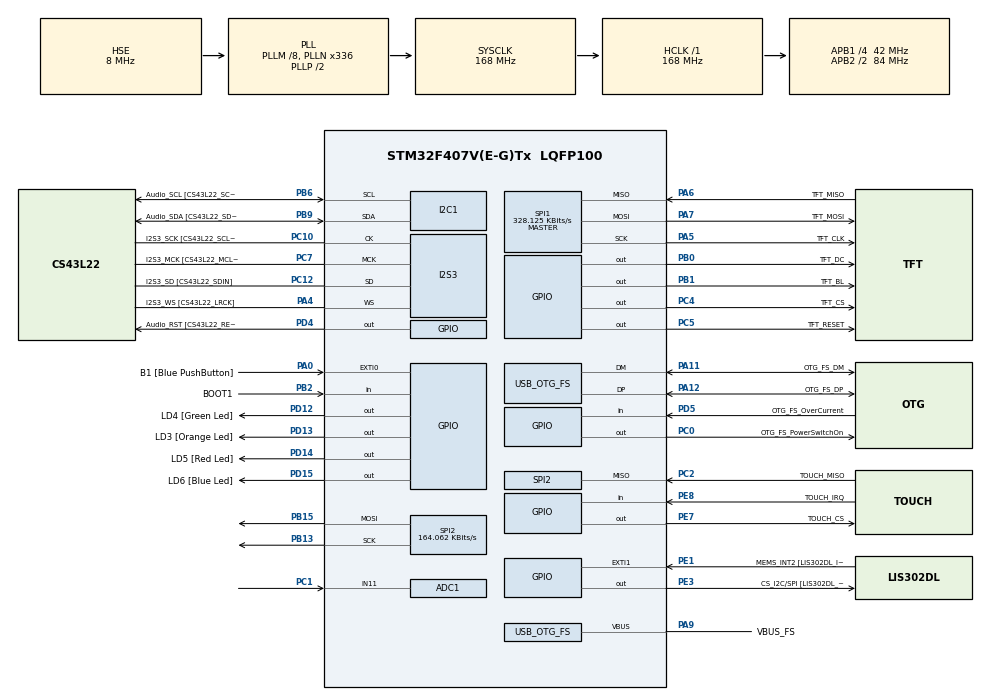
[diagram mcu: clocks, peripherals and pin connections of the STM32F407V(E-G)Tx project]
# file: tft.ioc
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ADC1.Channel-0\#ChannelRegularConversion=ADC_CHANNEL_TEMPSENSOR
ADC1.Channel-1\#ChannelRegularConversion=ADC_CHANNEL_11
ADC1.ClockPrescaler=ADC_CLOCK_SYNC_PCLK_DIV8
ADC1.ContinuousConvMode=ENABLE
ADC1.DMAContinuousRequests=ENABLE
ADC1.NbrOfConversion=2
ADC1.NbrOfConversionFlag=1
ADC1.Rank-0\#ChannelRegularConversion=1
ADC1.Rank-1\#ChannelRegularConversion=2
ADC1.SamplingTime-0\#ChannelRegularConversion=ADC_SAMPLETIME_112CYCLES
ADC1.SamplingTime-1\#ChannelRegularConversion=ADC_SAMPLETIME_112CYCLES
ADC1.ScanConvMode=ENABLE
ADC1.master=1
Dma.ADC1.0.Direction=DMA_PERIPH_TO_MEMORY
Dma.ADC1.0.FIFOMode=DMA_FIFOMODE_ENABLE
Dma.ADC1.0.FIFOThreshold=DMA_FIFO_THRESHOLD_FULL
Dma.ADC1.0.Instance=DMA2_Stream0
Dma.ADC1.0.MemBurst=DMA_MBURST_SINGLE
Dma.ADC1.0.MemDataAlignment=DMA_MDATAALIGN_WORD
Dma.ADC1.0.MemInc=DMA_MINC_ENABLE
Dma.ADC1.0.Mode=DMA_CIRCULAR
Dma.ADC1.0.PeriphBurst=DMA_PBURST_SINGLE
Dma.ADC1.0.PeriphDataAlignment=DMA_PDATAALIGN_WORD
Dma.ADC1.0.PeriphInc=DMA_PINC_DISABLE
Dma.ADC1.0.Priority=DMA_PRIORITY_LOW
Dma.Request0=ADC1
I2S3.AudioFreq-Half_Duplex_Master=I2S_AUDIOFREQ_96K
I2S3.ErrorAudioFreq=-2.34 %
I2S3.ErrorAudioFreq-Half_Duplex_Master=0.8 %
I2S3.FullDuplexMode=I2S_FULLDUPLEXMODE_DISABLE
I2S3.Instance=SPI$Index
I2S3.RealAudioFreq=93.75 KHz
I2S3.RealAudioFreq-Half_Duplex_Master=96.774 KHz
I2S3.VirtualMode=I2S_MODE_MASTER
Mcu.Family=STM32F4
Mcu.Name=STM32F407V(E-G)Tx
Mcu.Package=LQFP100
NVIC.DMA2_Stream0_IRQn=true\:0\:0\:false\:false\:true\:false\:true
NVIC.OTG_FS_IRQn=true\:0\:0\:false\:false\:true\:true\:true
NVIC.PriorityGroup=NVIC_PRIORITYGROUP_0
PA0-WKUP.GPIO_Label=B1 [Blue PushButton]
PA0-WKUP.GPIO_ModeDefaultEXTI=GPIO_MODE_EVT_RISING
PA0-WKUP.GPIO_PuPd=GPIO_NOPULL
PA0-WKUP.Signal=GPXTI0
PA10.GPIO_Label=OTG_FS_ID
PA10.GPIO_Mode=GPIO_MODE_AF_PP
PA10.GPIO_PuPd=GPIO_NOPULL
PA10.GPIO_Speed=GPIO_SPEED_FREQ_LOW
PA10.Signal=USB_OTG_FS_ID
PA11.GPIO_Label=OTG_FS_DM
PA11.GPIO_Mode=GPIO_MODE_AF_PP
PA11.GPIO_PuPd=GPIO_NOPULL
PA11.GPIO_Speed=GPIO_SPEED_FREQ_LOW
PA11.Mode=Host_Only
PA11.Signal=USB_OTG_FS_DM
PA12.GPIO_Label=OTG_FS_DP
PA12.GPIO_Mode=GPIO_MODE_AF_PP
PA12.GPIO_PuPd=GPIO_NOPULL
PA12.GPIO_Speed=GPIO_SPEED_FREQ_LOW
PA12.Mode=Host_Only
PA12.Signal=USB_OTG_FS_DP
PA13.GPIO_Label=SWDIO
PA13.Mode=Trace_Asynchronous_SW
PA13.Signal=SYS_JTMS-SWDIO
PA14.GPIO_Label=SWCLK
PA14.Mode=Trace_Asynchronous_SW
PA14.Signal=SYS_JTCK-SWCLK
PA4.GPIO_Label=I2S3_WS [CS43L22_LRCK]
PA4.GPIO_Mode=GPIO_MODE_AF_PP
PA4.GPIO_PuPd=GPIO_NOPULL
PA4.GPIO_Speed=GPIO_SPEED_FREQ_LOW
PA4.Mode=Half_Duplex_Master
PA4.Signal=I2S3_WS
PA5.GPIO_Label=TFT_CLK
PA5.GPIO_Mode=GPIO_MODE_AF_PP
PA5.GPIO_PuPd=GPIO_NOPULL
PA5.GPIO_Speed=GPIO_SPEED_FREQ_LOW
PA5.Mode=Full_Duplex_Master
PA5.Signal=SPI1_SCK
PA6.GPIO_Label=TFT_MISO
PA6.GPIO_Mode=GPIO_MODE_AF_PP
PA6.GPIO_PuPd=GPIO_NOPULL
PA6.GPIO_Speed=GPIO_SPEED_FREQ_LOW
PA6.Mode=Full_Duplex_Master
PA6.Signal=SPI1_MISO
PA7.GPIO_Label=TFT_MOSI
PA7.GPIO_Mode=GPIO_MODE_AF_PP
PA7.GPIO_PuPd=GPIO_NOPULL
PA7.GPIO_Speed=GPIO_SPEED_FREQ_LOW
PA7.Mode=Full_Duplex_Master
PA7.Signal=SPI1_MOSI
PA9.GPIO_Label=VBUS_FS
PA9.GPIO_Mode=GPIO_MODE_INPUT
PA9.GPIO_PuPd=GPIO_NOPULL
PA9.Mode=Activate_VBUS
PA9.Signal=USB_OTG_FS_VBUS
PB0.GPIO_Label=TFT_DC
PB0.Signal=GPIO_Output
PB1.GPIO_Label=TFT_BL
PB1.Signal=GPIO_Output
PB10.GPIO_Label=CLK_IN [MP45DT02_CLK]
PB10.GPIO_Mode=GPIO_MODE_AF_PP
PB10.GPIO_PuPd=GPIO_NOPULL
PB10.GPIO_Speed=GPIO_SPEED_FREQ_LOW
PB10.Signal=I2S2_CK
PB13.Mode=Full_Duplex_Master
PB13.Signal=SPI2_SCK
PB15.Mode=Full_Duplex_Master
PB15.Signal=SPI2_MOSI
PB2.GPIO_Label=BOOT1
PB2.GPIO_Mode=GPIO_MODE_INPUT
PB2.GPIO_PuPd=GPIO_NOPULL
PB2.Signal=GPIO_Input
PB3.GPIO_Label=SWO
PB3.Mode=Trace_Asynchronous_SW
PB3.Signal=SYS_JTDO-SWO
PB6.GPIO_Label=Audio_SCL [CS43L22_SCL]
PB6.GPIO_Mode=GPIO_MODE_AF_OD
PB6.GPIO_Pu=GPIO_PULLUP
PB6.GPIO_PuPd=GPIO_NOPULL
PB6.GPIO_Speed=GPIO_SPEED_FREQ_LOW
PB6.Mode=I2C
PB6.Signal=I2C1_SCL
PB9.GPIO_Label=Audio_SDA [CS43L22_SDA]
PB9.GPIO_Mode=GPIO_MODE_AF_OD
PB9.GPIO_Pu=GPIO_PULLUP
PB9.GPIO_PuPd=GPIO_NOPULL
PB9.GPIO_Speed=GPIO_SPEED_FREQ_LOW
PB9.Mode=I2C
PB9.Signal=I2C1_SDA
PC0.GPIO_Label=OTG_FS_PowerSwitchOn
PC0.GPIO_PuPd=GPIO_NOPULL
PC0.GPIO_Speed=GPIO_SPEED_FREQ_LOW
PC0.PinState=GPIO_PIN_SET
PC0.Signal=GPIO_Output
PC1.Signal=ADCx_IN11
PC10.GPIO_Label=I2S3_SCK [CS43L22_SCLK]
PC10.GPIO_Mode=GPIO_MODE_AF_PP
PC10.GPIO_PuPd=GPIO_NOPULL
PC10.GPIO_Speed=GPIO_SPEED_FREQ_LOW
PC10.Mode=Half_Duplex_Master
PC10.Signal=I2S3_CK
PC12.GPIO_Label=I2S3_SD [CS43L22_SDIN]
PC12.GPIO_Mode=GPIO_MODE_AF_PP
PC12.GPIO_PuPd=GPIO_NOPULL
PC12.GPIO_Speed=GPIO_SPEED_FREQ_LOW
PC12.Mode=Half_Duplex_Master
PC12.Signal=I2S3_SD
PC14-OSC32_IN.GPIO_Label=PC14-OSC32_IN
PC14-OSC32_IN.Mode=LSE-External-Oscillator
PC14-OSC32_IN.Signal=RCC_OSC32_IN
PC15-OSC32_OUT.GPIO_Label=PC15-OSC32_OUT
PC15-OSC32_OUT.Mode=LSE-External-Oscillator
PC15-OSC32_OUT.Signal=RCC_OSC32_OUT
PC2.GPIO_Label=TOUCH_MISO
PC2.Mode=Full_Duplex_Master
PC2.Signal=SPI2_MISO
PC3.GPIO_Label=PDM_OUT [MP45DT02_DOUT]
PC3.GPIO_Mode=GPIO_MODE_AF_PP
PC3.GPIO_PuPd=GPIO_NOPULL
PC3.GPIO_Speed=GPIO_SPEED_FREQ_LOW
PC3.Signal=I2S2_SD
PC4.GPIO_Label=TFT_CS
PC4.Signal=GPIO_Output
PC5.GPIO_Label=TFT_RESET
PC5.Signal=GPIO_Output
PC7.GPIO_Label=I2S3_MCK [CS43L22_MCLK]
PC7.GPIO_Mode=GPIO_MODE_AF_PP
PC7.GPIO_PuPd=GPIO_NOPULL
PC7.GPIO_Speed=GPIO_SPEED_FREQ_LOW
PC7.Mode=Master_Clock_Activated
PC7.Signal=I2S3_MCK
PD12.GPIO_Label=LD4 [Green Led]
PD12.GPIO_PuPd=GPIO_NOPULL
PD12.GPIO_Speed=GPIO_SPEED_FREQ_LOW
PD12.Signal=GPIO_Output
PD13.GPIO_Label=LD3 [Orange Led]
PD13.GPIO_ModeDefaultOutputPP=GPIO_MODE_OUTPUT_PP
PD13.GPIO_PuPd=GPIO_NOPULL
PD13.GPIO_Speed=GPIO_SPEED_FREQ_MEDIUM
PD13.Signal=GPIO_Output
PD14.GPIO_Label=LD5 [Red Led]
PD14.GPIO_PuPd=GPIO_NOPULL
PD14.GPIO_Speed=GPIO_SPEED_FREQ_LOW
PD14.Signal=GPIO_Output
PD15.GPIO_Label=LD6 [Blue Led]
PD15.GPIO_PuPd=GPIO_NOPULL
PD15.GPIO_Speed=GPIO_SPEED_FREQ_LOW
PD15.Signal=GPIO_Output
PD4.GPIO_Label=Audio_RST [CS43L22_RESET]
PD4.GPIO_PuPd=GPIO_NOPULL
PD4.GPIO_Speed=GPIO_SPEED_FREQ_LOW
PD4.Signal=GPIO_Output
PD5.GPIO_Label=OTG_FS_OverCurrent
PD5.GPIO_Mode=GPIO_MODE_INPUT
PD5.GPIO_PuPd=GPIO_NOPULL
PD5.Signal=GPIO_Input
PE1.GPIO_Label=MEMS_INT2 [LIS302DL_INT2]
PE1.GPIO_ModeDefaultEXTI=GPIO_MODE_EVT_RISING
PE1.GPIO_PuPd=GPIO_NOPULL
PE1.Signal=GPXTI1
PE3.GPIO_Label=CS_I2C/SPI [LIS302DL_CS_I2C/SPI]
PE3.GPIO_PuPd=GPIO_NOPULL
PE3.GPIO_Speed=GPIO_SPEED_FREQ_LOW
PE3.Signal=GPIO_Output
PE7.GPIO_Label=TOUCH_CS
PE7.Signal=GPIO_Output
PE8.GPIO_Label=TOUCH_IRQ
PE8.Signal=GPIO_Input
PH0-OSC_IN.GPIO_Label=PH0-OSC_IN
PH0-OSC_IN.Mode=HSE-External-Oscillator
PH0-OSC_IN.Signal=RCC_OSC_IN
PH1-OSC_OUT.GPIO_Label=PH1-OSC_OUT
PH1-OSC_OUT.Mode=HSE-External-Oscillator
PH1-OSC_OUT.Signal=RCC_OSC_OUT
ProjectManager.HeapSize=0x200
ProjectManager.StackSize=0x400
ProjectManager.TargetToolchain=STM32CubeIDE
RCC.48MHZClocksFreq_Value=48000000
RCC.AHBFreq_Value=168000000
RCC.APB1CLKDivider=RCC_HCLK_DIV4
RCC.APB1Freq_Value=42000000
RCC.APB1TimFreq_Value=84000000
RCC.APB2CLKDivider=RCC_HCLK_DIV2
RCC.APB2Freq_Value=84000000
RCC.APB2TimFreq_Value=168000000
RCC.CortexFreq_Value=168000000
RCC.HCLKFreq_Value=168000000
RCC.HSE_VALUE=8000000
RCC.HSI_VALUE=16000000
RCC.PLLM=8
RCC.PLLN=336
RCC.PLLQ=7
RCC.SYSCLKFreq_VALUE=168000000
RCC.SYSCLKSource=RCC_SYSCLKSOURCE_PLLCLK
RCC.VCOOutputFreq_Value=336000000
SH.ADCx_IN11.0=ADC3_IN11
SH.ADCx_IN11.1=ADC1_IN11,IN11
SPI1.BaudRatePrescaler=SPI_BAUDRATEPRESCALER_256
SPI1.BaudRatePrescaler-Full_Duplex_Master=SPI_BAUDRATEPRESCALER_2
SPI1.CalculateBaudRate=328.125 KBits/s
SPI1.CalculateBaudRate-Full_Duplex_Master=42.0 MBits/s
SPI1.Direction=SPI_DIRECTION_2LINES
SPI1.Mode=SPI_MODE_MASTER
SPI1.Mode-Full_Duplex_Master=SPI_MODE_MASTER
SPI1.VirtualType=VM_MASTER
SPI2.BaudRatePrescaler=SPI_BAUDRATEPRESCALER_256
SPI2.CalculateBaudRate=164.062 KBits/s
SPI2.Direction=SPI_DIRECTION_2LINES
SPI2.Mode=SPI_MODE_MASTER
SPI2.VirtualType=VM_MASTER
USB_HOST.BSP.number=1
USB_HOST.USBH_HandleTypeDef-CDC_FS=hUsbHostFS
USB_HOST.VirtualModeFS=Cdc
USB_HOST0.BSP.STBoard=false
USB_HOST0.BSP.api=Unknown
USB_HOST0.BSP.i2caddr=0
USB_HOST0.BSP.i2creg=0
USB_HOST0.BSP.instance=PC0
USB_HOST0.BSP.ip=GPIO
USB_HOST0.BSP.mode=Output
USB_HOST0.BSP.name=Drive_VBUS_FS
USB_HOST0.BSP.solution=PC0
USB_OTG_FS.VirtualMode=Host_Only
USB_OTG_FS.phy_itface=HCD_PHY_EMBEDDED
VP_ADC1_TempSens_Input.Mode=IN-TempSens
VP_CRC_VS_CRC.Mode=CRC_Activate
VP_USB_HOST_VS_USB_HOST_CDC_FS.Mode=CDC_FS
board=STM32F407G-DISC1

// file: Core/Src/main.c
/* USER CODE BEGIN Header */

/**
 * Loren Olsen
ECET 260 Mel Dundas
Oct 13 2010

Running a TFT display with the STM32F4 Discovery Board
We are using the SPI interface. We needed to down the interface speed in the ioc configuration file.
for SPI1 and SPi2 for the STM32 to communicate with the display properly.

Added STemWin drivers and libraries to the project for graphical display functions

This program is also using DMA to get a temperature from the CPU and an external thermistor on GPIO1

  ******************************************************************************
  * @file           : main.c
  * @brief          : Main program body
  ******************************************************************************
  * @attention
  *
  * <h2><center>&copy; Copyright (c) 2021 STMicroelectronics.
  * All rights reserved.</center></h2>
  *
  * This software component is licensed by ST under Ultimate Liberty license
  * SLA0044, the "License"; You may not use this file except in compliance with
  * the License. You may obtain a copy of the License at:
  *                             www.st.com/SLA0044
  *
  ******************************************************************************
  */
/* USER CODE END Header */
#include "main.h"
#include "usb_host.h"

/* USER CODE BEGIN Includes */
#include <stdio.h>
#include <math.h>
#include <gui.h>

/* USER CODE END Includes */

ADC_HandleTypeDef hadc1;
DMA_HandleTypeDef hdma_adc1;

CRC_HandleTypeDef hcrc;

I2C_HandleTypeDef hi2c1;

I2S_HandleTypeDef hi2s3;

SPI_HandleTypeDef hspi1;
SPI_HandleTypeDef hspi2;

/* USER CODE BEGIN PV */

uint32_t dmaData[200];
uint32_t cpuRaw, thermRaw, count = 0;
float tempcpu, tempextern, readcpu, readtherm = 0.0;

/* USER CODE END PV */

void SystemClock_Config(void);
static void MX_GPIO_Init(void);
static void MX_I2C1_Init(void);
static void MX_I2S3_Init(void);
static void MX_SPI1_Init(void);
static void MX_DMA_Init(void);
static void MX_ADC1_Init(void);
static void MX_CRC_Init(void);
static void MX_SPI2_Init(void);
void MX_USB_HOST_Process(void);

/* USER CODE BEGIN PFP */

int __io_putchar(int ch);
float  convertAnalogToTemperature(unsigned int analogReadValue);
float convertAnalogCPUToTemperature(unsigned int analogReadValue);

/* USER CODE END PFP */

int main(void)
{

  /* MCU Configuration--------------------------------------------------------*/

  /* Reset of all peripherals, Initializes the Flash interface and the Systick. */
  HAL_Init();

  /* Configure the system clock */
  SystemClock_Config();

  /* Initialize all configured peripherals */
  MX_GPIO_Init();
  MX_I2C1_Init();
  MX_I2S3_Init();
  MX_SPI1_Init();
  MX_USB_HOST_Init();
  MX_DMA_Init();
  MX_ADC1_Init();
  MX_CRC_Init();
  MX_SPI2_Init();
  /* USER CODE BEGIN 2 */

  GUI_Init();								//Init the GUI on the display
  GUI_SetBkColor(GUI_BLACK);				//Set background colour
  GUI_Clear();								//Clear the display
  GUI_SetFont(&GUI_Font20_1);				//Set the font (non-ascii)
  GUI_SetColor(GUI_GREEN);					//Set text colour

  GUI_DispStringHCenterAt("ECET 260", 160, 50);			//Display the Title page centered at x= 160 y= 50
  GUI_DispStringHCenterAt("Loren Olsen", 160, 100);

  HAL_Delay(1000);										//Keep the title page displayed for 1 second
  GUI_Clear();											//Clear the screen and then go onto the main routine

  /* USER CODE END 2 */

  /* Infinite loop */
  /* USER CODE BEGIN WHILE */

  HAL_ADC_Start_DMA(&hadc1, dmaData, 200);												//Start the ADC converiosn and send it via DMA to dmaData Array
  	  	  	  	  	  	  	  	  	  	  	  	  	  	  	  	  	  	  	  	  	  	  //Because of the ranking in the DMA , odd array values will be CPU data
  	  	  	  	  	  	  	  	  	  	  	  	  	  	  	  	  	  	  	  	  	  	  // and odd values will be for the thermistor

  while (1)	//****************************************************************************     Start of Code
  {

	  for (int i = 0; i < 200; i+=2)													//Take all even Array values and add them into cpu raw data
	  {
		   cpuRaw += dmaData[i];

	  }

	  for (int i = 1; i < 200; i+=2)													//Take all odd array values and add them to raw thermistor data
	  {
		   thermRaw += dmaData[i];

	  }

	  tempcpu = convertAnalogCPUToTemperature(cpuRaw / 100);							//Get CPU temp from the average of 100 samples of raw data
	  readcpu = tempcpu;																//copy this data into a more stable variable

	  tempextern = convertAnalogToTemperature(thermRaw / 100);							//Get Thermistor temp from average of 100 raw data samples
	  readtherm = tempextern;															//Copy data to a stable variable for output on the cube ide graph

	  char cputemp_str[8];																//Use sprintf to convert the tempcpu float value to an array of chars
	  sprintf(cputemp_str, "%.1f", tempcpu);

	  char thermtemp_str[8];															//Use sprintf to convert the tempextern float value to an array of chars
	  sprintf(thermtemp_str, "%.1f", tempextern);

	  char degree_symbol[2];															//Use sprintf to convert the character code 176 (degree symbol) to an array element
	  sprintf(degree_symbol, "%c", 176);

	  GUI_DispStringAt("CPU Temperature = ", 0, 100);									//Display the Cpu temperature on the screen, starting at x = 0 and y = 100
	  GUI_DispString(cputemp_str);
	  GUI_DispString(degree_symbol);

	  GUI_DispStringAt("Thermistor Temperature = ", 0, 150);							//Display the Thermistor temperature on the screen, starting at x = 0 and y = 150
	  GUI_DispString(thermtemp_str);
	  GUI_DispString(degree_symbol);

	  GUI_Clear();
	  cpuRaw = 0;
	  thermRaw = 0;

	  if (count >= 500)																	//Count is incremented in systick function. 1 tick per ms
	  {
		  HAL_GPIO_TogglePin(OrangeLED_GPIO_Port, OrangeLED_Pin);
		  count -= 500;
	  }

  }

    /* USER CODE END WHILE */
    MX_USB_HOST_Process();

}

void SystemClock_Config(void)
{
  RCC_OscInitTypeDef RCC_OscInitStruct = {0};
  RCC_ClkInitTypeDef RCC_ClkInitStruct = {0};

  /** Configure the main internal regulator output voltage
  */
  __HAL_RCC_PWR_CLK_ENABLE();
  __HAL_PWR_VOLTAGESCALING_CONFIG(PWR_REGULATOR_VOLTAGE_SCALE1);
  /** Initializes the RCC Oscillators according to the specified parameters
  * in the RCC_OscInitTypeDef structure.
  */
  RCC_OscInitStruct.OscillatorType = RCC_OSCILLATORTYPE_HSE;
  RCC_OscInitStruct.HSEState = RCC_HSE_ON;
  RCC_OscInitStruct.PLL.PLLState = RCC_PLL_ON;
  RCC_OscInitStruct.PLL.PLLSource = RCC_PLLSOURCE_HSE;
  RCC_OscInitStruct.PLL.PLLM = 8;
  RCC_OscInitStruct.PLL.PLLN = 336;
  RCC_OscInitStruct.PLL.PLLP = RCC_PLLP_DIV2;
  RCC_OscInitStruct.PLL.PLLQ = 7;
  if (HAL_RCC_OscConfig(&RCC_OscInitStruct) != HAL_OK)
  {
    Error_Handler();
  }
  /** Initializes the CPU, AHB and APB buses clocks
  */
  RCC_ClkInitStruct.ClockType = RCC_CLOCKTYPE_HCLK|RCC_CLOCKTYPE_SYSCLK
                              |RCC_CLOCKTYPE_PCLK1|RCC_CLOCKTYPE_PCLK2;
  RCC_ClkInitStruct.SYSCLKSource = RCC_SYSCLKSOURCE_PLLCLK;
  RCC_ClkInitStruct.AHBCLKDivider = RCC_SYSCLK_DIV1;
  RCC_ClkInitStruct.APB1CLKDivider = RCC_HCLK_DIV4;
  RCC_ClkInitStruct.APB2CLKDivider = RCC_HCLK_DIV2;

  if (HAL_RCC_ClockConfig(&RCC_ClkInitStruct, FLASH_LATENCY_5) != HAL_OK)
  {
    Error_Handler();
  }
}

static void MX_ADC1_Init(void)
{

  ADC_ChannelConfTypeDef sConfig = {0};

  /** Configure the global features of the ADC (Clock, Resolution, Data Alignment and number of conversion)
  */
  hadc1.Instance = ADC1;
  hadc1.Init.ClockPrescaler = ADC_CLOCK_SYNC_PCLK_DIV8;
  hadc1.Init.Resolution = ADC_RESOLUTION_12B;
  hadc1.Init.ScanConvMode = ENABLE;
  hadc1.Init.ContinuousConvMode = ENABLE;
  hadc1.Init.DiscontinuousConvMode = DISABLE;
  hadc1.Init.ExternalTrigConvEdge = ADC_EXTERNALTRIGCONVEDGE_NONE;
  hadc1.Init.ExternalTrigConv = ADC_SOFTWARE_START;
  hadc1.Init.DataAlign = ADC_DATAALIGN_RIGHT;
  hadc1.Init.NbrOfConversion = 2;
  hadc1.Init.DMAContinuousRequests = ENABLE;
  hadc1.Init.EOCSelection = ADC_EOC_SINGLE_CONV;
  if (HAL_ADC_Init(&hadc1) != HAL_OK)
  {
    Error_Handler();
  }
  /** Configure for the selected ADC regular channel its corresponding rank in the sequencer and its sample time.
  */
  sConfig.Channel = ADC_CHANNEL_TEMPSENSOR;
  sConfig.Rank = 1;
  sConfig.SamplingTime = ADC_SAMPLETIME_112CYCLES;
  if (HAL_ADC_ConfigChannel(&hadc1, &sConfig) != HAL_OK)
  {
    Error_Handler();
  }
  /** Configure for the selected ADC regular channel its corresponding rank in the sequencer and its sample time.
  */
  sConfig.Channel = ADC_CHANNEL_11;
  sConfig.Rank = 2;
  if (HAL_ADC_ConfigChannel(&hadc1, &sConfig) != HAL_OK)
  {
    Error_Handler();
  }

}

static void MX_CRC_Init(void)
{

  hcrc.Instance = CRC;
  if (HAL_CRC_Init(&hcrc) != HAL_OK)
  {
    Error_Handler();
  }

}

static void MX_I2C1_Init(void)
{

  hi2c1.Instance = I2C1;
  hi2c1.Init.ClockSpeed = 100000;
  hi2c1.Init.DutyCycle = I2C_DUTYCYCLE_2;
  hi2c1.Init.OwnAddress1 = 0;
  hi2c1.Init.AddressingMode = I2C_ADDRESSINGMODE_7BIT;
  hi2c1.Init.DualAddressMode = I2C_DUALADDRESS_DISABLE;
  hi2c1.Init.OwnAddress2 = 0;
  hi2c1.Init.GeneralCallMode = I2C_GENERALCALL_DISABLE;
  hi2c1.Init.NoStretchMode = I2C_NOSTRETCH_DISABLE;
  if (HAL_I2C_Init(&hi2c1) != HAL_OK)
  {
    Error_Handler();
  }

}

static void MX_I2S3_Init(void)
{

  hi2s3.Instance = SPI3;
  hi2s3.Init.Mode = I2S_MODE_MASTER_TX;
  hi2s3.Init.Standard = I2S_STANDARD_PHILIPS;
  hi2s3.Init.DataFormat = I2S_DATAFORMAT_16B;
  hi2s3.Init.MCLKOutput = I2S_MCLKOUTPUT_ENABLE;
  hi2s3.Init.AudioFreq = I2S_AUDIOFREQ_96K;
  hi2s3.Init.CPOL = I2S_CPOL_LOW;
  hi2s3.Init.ClockSource = I2S_CLOCK_PLL;
  hi2s3.Init.FullDuplexMode = I2S_FULLDUPLEXMODE_DISABLE;
  if (HAL_I2S_Init(&hi2s3) != HAL_OK)
  {
    Error_Handler();
  }

}

static void MX_SPI1_Init(void)
{

  /* SPI1 parameter configuration*/
  hspi1.Instance = SPI1;
  hspi1.Init.Mode = SPI_MODE_MASTER;
  hspi1.Init.Direction = SPI_DIRECTION_2LINES;
  hspi1.Init.DataSize = SPI_DATASIZE_8BIT;
  hspi1.Init.CLKPolarity = SPI_POLARITY_LOW;
  hspi1.Init.CLKPhase = SPI_PHASE_1EDGE;
  hspi1.Init.NSS = SPI_NSS_SOFT;
  hspi1.Init.BaudRatePrescaler = SPI_BAUDRATEPRESCALER_256;
  hspi1.Init.FirstBit = SPI_FIRSTBIT_MSB;
  hspi1.Init.TIMode = SPI_TIMODE_DISABLE;
  hspi1.Init.CRCCalculation = SPI_CRCCALCULATION_DISABLE;
  hspi1.Init.CRCPolynomial = 10;
  if (HAL_SPI_Init(&hspi1) != HAL_OK)
  {
    Error_Handler();
  }

}

static void MX_SPI2_Init(void)
{

  /* SPI2 parameter configuration*/
  hspi2.Instance = SPI2;
  hspi2.Init.Mode = SPI_MODE_MASTER;
  hspi2.Init.Direction = SPI_DIRECTION_2LINES;
  hspi2.Init.DataSize = SPI_DATASIZE_8BIT;
  hspi2.Init.CLKPolarity = SPI_POLARITY_LOW;
  hspi2.Init.CLKPhase = SPI_PHASE_1EDGE;
  hspi2.Init.NSS = SPI_NSS_SOFT;
  hspi2.Init.BaudRatePrescaler = SPI_BAUDRATEPRESCALER_256;
  hspi2.Init.FirstBit = SPI_FIRSTBIT_MSB;
  hspi2.Init.TIMode = SPI_TIMODE_DISABLE;
  hspi2.Init.CRCCalculation = SPI_CRCCALCULATION_DISABLE;
  hspi2.Init.CRCPolynomial = 10;
  if (HAL_SPI_Init(&hspi2) != HAL_OK)
  {
    Error_Handler();
  }

}

static void MX_DMA_Init(void)
{

  /* DMA controller clock enable */
  __HAL_RCC_DMA2_CLK_ENABLE();

  /* DMA interrupt init */
  /* DMA2_Stream0_IRQn interrupt configuration */
  HAL_NVIC_SetPriority(DMA2_Stream0_IRQn, 0, 0);
  HAL_NVIC_EnableIRQ(DMA2_Stream0_IRQn);

}

static void MX_GPIO_Init(void)
{
  GPIO_InitTypeDef GPIO_InitStruct = {0};

  /* GPIO Ports Clock Enable */
  __HAL_RCC_GPIOE_CLK_ENABLE();
  __HAL_RCC_GPIOC_CLK_ENABLE();
  __HAL_RCC_GPIOH_CLK_ENABLE();
  __HAL_RCC_GPIOA_CLK_ENABLE();
  __HAL_RCC_GPIOB_CLK_ENABLE();
  __HAL_RCC_GPIOD_CLK_ENABLE();

  /*Configure GPIO pin Output Level */
  HAL_GPIO_WritePin(GPIOE, CS_I2C_SPI_Pin|TOUCH_CS_Pin, GPIO_PIN_RESET);

  /*Configure GPIO pin Output Level */
  HAL_GPIO_WritePin(OTG_FS_PowerSwitchOn_GPIO_Port, OTG_FS_PowerSwitchOn_Pin, GPIO_PIN_SET);

  /*Configure GPIO pin Output Level */
  HAL_GPIO_WritePin(GPIOC, TFT_CS_Pin|TFT_RESET_Pin, GPIO_PIN_RESET);

  /*Configure GPIO pin Output Level */
  HAL_GPIO_WritePin(GPIOB, TFT_DC_Pin|TFT_BL_Pin, GPIO_PIN_RESET);

  /*Configure GPIO pin Output Level */
  HAL_GPIO_WritePin(GPIOD, LD4_Pin|LD3_Pin|LD5_Pin|LD6_Pin
                          |Audio_RST_Pin, GPIO_PIN_RESET);

  /*Configure GPIO pins : CS_I2C_SPI_Pin TOUCH_CS_Pin */
  GPIO_InitStruct.Pin = CS_I2C_SPI_Pin|TOUCH_CS_Pin;
  GPIO_InitStruct.Mode = GPIO_MODE_OUTPUT_PP;
  GPIO_InitStruct.Pull = GPIO_NOPULL;
  GPIO_InitStruct.Speed = GPIO_SPEED_FREQ_LOW;
  HAL_GPIO_Init(GPIOE, &GPIO_InitStruct);

  /*Configure GPIO pins : OTG_FS_PowerSwitchOn_Pin TFT_CS_Pin TFT_RESET_Pin */
  GPIO_InitStruct.Pin = OTG_FS_PowerSwitchOn_Pin|TFT_CS_Pin|TFT_RESET_Pin;
  GPIO_InitStruct.Mode = GPIO_MODE_OUTPUT_PP;
  GPIO_InitStruct.Pull = GPIO_NOPULL;
  GPIO_InitStruct.Speed = GPIO_SPEED_FREQ_LOW;
  HAL_GPIO_Init(GPIOC, &GPIO_InitStruct);

  /*Configure GPIO pin : PC1 */
  GPIO_InitStruct.Pin = GPIO_PIN_1;
  GPIO_InitStruct.Mode = GPIO_MODE_ANALOG;
  GPIO_InitStruct.Pull = GPIO_NOPULL;
  HAL_GPIO_Init(GPIOC, &GPIO_InitStruct);

  /*Configure GPIO pin : PDM_OUT_Pin */
  GPIO_InitStruct.Pin = PDM_OUT_Pin;
  GPIO_InitStruct.Mode = GPIO_MODE_AF_PP;
  GPIO_InitStruct.Pull = GPIO_NOPULL;
  GPIO_InitStruct.Speed = GPIO_SPEED_FREQ_LOW;
  GPIO_InitStruct.Alternate = GPIO_AF5_SPI2;
  HAL_GPIO_Init(PDM_OUT_GPIO_Port, &GPIO_InitStruct);

  /*Configure GPIO pin : B1_Pin */
  GPIO_InitStruct.Pin = B1_Pin;
  GPIO_InitStruct.Mode = GPIO_MODE_EVT_RISING;
  GPIO_InitStruct.Pull = GPIO_NOPULL;
  HAL_GPIO_Init(B1_GPIO_Port, &GPIO_InitStruct);

  /*Configure GPIO pins : TFT_DC_Pin TFT_BL_Pin */
  GPIO_InitStruct.Pin = TFT_DC_Pin|TFT_BL_Pin;
  GPIO_InitStruct.Mode = GPIO_MODE_OUTPUT_PP;
  GPIO_InitStruct.Pull = GPIO_NOPULL;
  GPIO_InitStruct.Speed = GPIO_SPEED_FREQ_LOW;
  HAL_GPIO_Init(GPIOB, &GPIO_InitStruct);

  /*Configure GPIO pin : BOOT1_Pin */
  GPIO_InitStruct.Pin = BOOT1_Pin;
  GPIO_InitStruct.Mode = GPIO_MODE_INPUT;
  GPIO_InitStruct.Pull = GPIO_NOPULL;
  HAL_GPIO_Init(BOOT1_GPIO_Port, &GPIO_InitStruct);

  /*Configure GPIO pin : TOUCH_IRQ_Pin */
  GPIO_InitStruct.Pin = TOUCH_IRQ_Pin;
  GPIO_InitStruct.Mode = GPIO_MODE_INPUT;
  GPIO_InitStruct.Pull = GPIO_NOPULL;
  HAL_GPIO_Init(TOUCH_IRQ_GPIO_Port, &GPIO_InitStruct);

  /*Configure GPIO pin : CLK_IN_Pin */
  GPIO_InitStruct.Pin = CLK_IN_Pin;
  GPIO_InitStruct.Mode = GPIO_MODE_AF_PP;
  GPIO_InitStruct.Pull = GPIO_NOPULL;
  GPIO_InitStruct.Speed = GPIO_SPEED_FREQ_LOW;
  GPIO_InitStruct.Alternate = GPIO_AF5_SPI2;
  HAL_GPIO_Init(CLK_IN_GPIO_Port, &GPIO_InitStruct);

  /*Configure GPIO pins : LD4_Pin LD5_Pin LD6_Pin Audio_RST_Pin */
  GPIO_InitStruct.Pin = LD4_Pin|LD5_Pin|LD6_Pin|Audio_RST_Pin;
  GPIO_InitStruct.Mode = GPIO_MODE_OUTPUT_PP;
  GPIO_InitStruct.Pull = GPIO_NOPULL;
  GPIO_InitStruct.Speed = GPIO_SPEED_FREQ_LOW;
  HAL_GPIO_Init(GPIOD, &GPIO_InitStruct);

  /*Configure GPIO pin : LD3_Pin */
  GPIO_InitStruct.Pin = LD3_Pin;
  GPIO_InitStruct.Mode = GPIO_MODE_OUTPUT_PP;
  GPIO_InitStruct.Pull = GPIO_NOPULL;
  GPIO_InitStruct.Speed = GPIO_SPEED_FREQ_MEDIUM;
  HAL_GPIO_Init(LD3_GPIO_Port, &GPIO_InitStruct);

  /*Configure GPIO pin : OTG_FS_OverCurrent_Pin */
  GPIO_InitStruct.Pin = OTG_FS_OverCurrent_Pin;
  GPIO_InitStruct.Mode = GPIO_MODE_INPUT;
  GPIO_InitStruct.Pull = GPIO_NOPULL;
  HAL_GPIO_Init(OTG_FS_OverCurrent_GPIO_Port, &GPIO_InitStruct);

  /*Configure GPIO pin : MEMS_INT2_Pin */
  GPIO_InitStruct.Pin = MEMS_INT2_Pin;
  GPIO_InitStruct.Mode = GPIO_MODE_EVT_RISING;
  GPIO_InitStruct.Pull = GPIO_NOPULL;
  HAL_GPIO_Init(MEMS_INT2_GPIO_Port, &GPIO_InitStruct);

}

/* USER CODE BEGIN 4 */
//**********************************************************************  Start of user Functions

float  convertAnalogToTemperature(unsigned int analogReadValue)
	{
	// If analogReadValue is 4095, we would otherwise cause a Divide-By-Zero,
	  // Treat as crazy out-of-range temperature.
	  if(analogReadValue == 4095) return 1000.0;

	  return (1/((log(((10000.0 * analogReadValue) / (4095.0 - analogReadValue))/100000.0)/3950.0) + (1 / (273.15 + 25.000)))) - 273.15;
	}

float convertAnalogCPUToTemperature(unsigned int analogReadValue)
	{
	float analogfloat = analogReadValue;

	return ((analogfloat / (float)(4095.0/3.300)) - 0.760) / .0025 + 25;

	}

/*
 * Temperature (in °C) = {(VSENSE – V25) / Avg_Slope} + 25
Where:
– V 25 = VSENSE value for 25° C
– Avg_Slope = average slope of the temperature vs. VSENSE curve (given in mV/°C
or μV/°C)

 760mV
 2.5 slope
 */

void HAL_IncTick(void)
	{
		uwTick += uwTickFreq;
		count++;

	}

int __io_putchar(int ch)
   	  {
   		  ITM_SendChar(ch);
   		  return 0;
   	  }

/* USER CODE END 4 */

void Error_Handler(void)
{
  __disable_irq();
  while (1)
  {
  }
}

/************************ (C) COPYRIGHT STMicroelectronics *****END OF FILE****/
